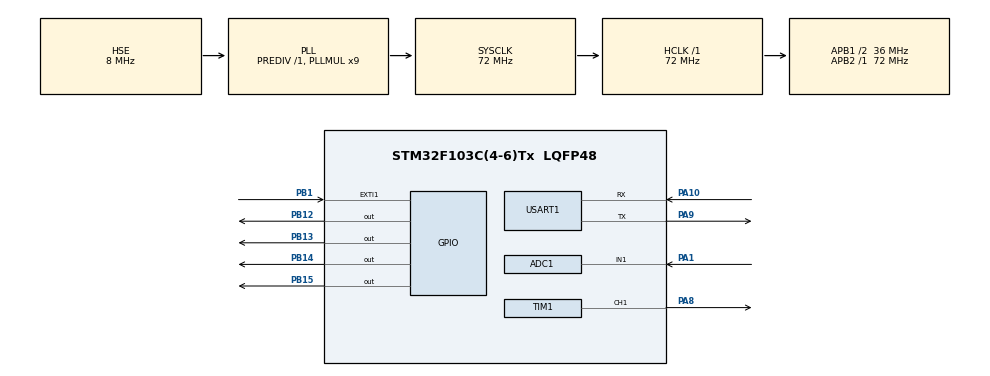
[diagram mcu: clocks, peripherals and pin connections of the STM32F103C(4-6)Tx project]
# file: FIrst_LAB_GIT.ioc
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ADC1.Channel-1\#ChannelRegularConversion=ADC_CHANNEL_1
ADC1.NbrOfConversionFlag=1
ADC1.Rank-1\#ChannelRegularConversion=1
ADC1.SamplingTime-1\#ChannelRegularConversion=ADC_SAMPLETIME_1CYCLE_5
ADC1.master=1
Dma.Request0=USART1_RX
Dma.Request1=TIM1_CH1
Dma.TIM1_CH1.1.Direction=DMA_PERIPH_TO_MEMORY
Dma.TIM1_CH1.1.Instance=DMA1_Channel2
Dma.TIM1_CH1.1.MemDataAlignment=DMA_MDATAALIGN_HALFWORD
Dma.TIM1_CH1.1.MemInc=DMA_MINC_ENABLE
Dma.TIM1_CH1.1.Mode=DMA_NORMAL
Dma.TIM1_CH1.1.PeriphDataAlignment=DMA_PDATAALIGN_HALFWORD
Dma.TIM1_CH1.1.PeriphInc=DMA_PINC_DISABLE
Dma.TIM1_CH1.1.Priority=DMA_PRIORITY_LOW
Dma.USART1_RX.0.Direction=DMA_PERIPH_TO_MEMORY
Dma.USART1_RX.0.Instance=DMA1_Channel5
Dma.USART1_RX.0.MemDataAlignment=DMA_MDATAALIGN_BYTE
Dma.USART1_RX.0.MemInc=DMA_MINC_ENABLE
Dma.USART1_RX.0.Mode=DMA_NORMAL
Dma.USART1_RX.0.PeriphDataAlignment=DMA_PDATAALIGN_BYTE
Dma.USART1_RX.0.PeriphInc=DMA_PINC_DISABLE
Dma.USART1_RX.0.Priority=DMA_PRIORITY_LOW
Mcu.Family=STM32F1
Mcu.Name=STM32F103C(4-6)Tx
Mcu.Package=LQFP48
NVIC.DMA1_Channel2_IRQn=true\:0\:0\:false\:false\:true\:false\:true\:true
NVIC.DMA1_Channel5_IRQn=true\:0\:0\:false\:false\:true\:false\:true\:true
NVIC.EXTI1_IRQn=true\:0\:0\:false\:false\:true\:true\:true\:true
NVIC.PriorityGroup=NVIC_PRIORITYGROUP_4
NVIC.RCC_IRQn=true\:0\:0\:false\:false\:true\:true\:false\:true
NVIC.TIM1_BRK_IRQn=true\:0\:0\:false\:false\:true\:true\:true\:true
NVIC.TIM1_CC_IRQn=true\:0\:0\:false\:false\:true\:true\:true\:true
NVIC.TIM1_TRG_COM_IRQn=true\:0\:0\:false\:false\:true\:true\:true\:true
NVIC.TIM1_UP_IRQn=true\:0\:0\:false\:false\:true\:true\:true\:true
NVIC.USART1_IRQn=true\:0\:0\:false\:false\:true\:true\:true\:true
PA1.Signal=ADCx_IN1
PA10.Mode=Asynchronous
PA10.Signal=USART1_RX
PA13.Mode=Serial_Wire
PA13.Signal=SYS_JTMS-SWDIO
PA14.Mode=Serial_Wire
PA14.Signal=SYS_JTCK-SWCLK
PA8.Signal=S_TIM1_CH1
PA9.Mode=Asynchronous
PA9.Signal=USART1_TX
PB1.GPIO_PuPd=GPIO_PULLDOWN
PB1.Signal=GPXTI1
PB12.Signal=GPIO_Output
PB13.Signal=GPIO_Output
PB14.Signal=GPIO_Output
PB15.Signal=GPIO_Output
PC14-OSC32_IN.Mode=LSE-External-Oscillator
PC14-OSC32_IN.Signal=RCC_OSC32_IN
PC15-OSC32_OUT.Mode=LSE-External-Oscillator
PC15-OSC32_OUT.Signal=RCC_OSC32_OUT
PD0-OSC_IN.Mode=HSE-External-Oscillator
PD0-OSC_IN.Signal=RCC_OSC_IN
PD1-OSC_OUT.Mode=HSE-External-Oscillator
PD1-OSC_OUT.Signal=RCC_OSC_OUT
ProjectManager.HeapSize=0x200
ProjectManager.StackSize=0x400
ProjectManager.TargetToolchain=STM32CubeIDE
RCC.AHBFreq_Value=72000000
RCC.APB1CLKDivider=RCC_HCLK_DIV2
RCC.APB1Freq_Value=36000000
RCC.APB1TimFreq_Value=72000000
RCC.APB2Freq_Value=72000000
RCC.APB2TimFreq_Value=72000000
RCC.HCLKFreq_Value=72000000
RCC.PLLMUL=RCC_PLL_MUL9
RCC.PLLSourceVirtual=RCC_PLLSOURCE_HSE
RCC.SYSCLKFreq_VALUE=72000000
RCC.SYSCLKSource=RCC_SYSCLKSOURCE_PLLCLK
RCC.USBFreq_Value=72000000
SH.ADCx_IN1.0=ADC1_IN1,IN1
SH.S_TIM1_CH1.0=TIM1_CH1,PWM Generation1 CH1
TIM1.Channel-PWM\ Generation1\ CH1=TIM_CHANNEL_1
USART1.VirtualMode=VM_ASYNC
board=custom

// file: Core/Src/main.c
/* USER CODE BEGIN Header */
/**
  ******************************************************************************
  * @file           : main.c
  * @brief          : Main program body
  ******************************************************************************
  * @attention
  *
  * Copyright (c) 2023 STMicroelectronics.
  * All rights reserved.
  *
  * This software is licensed under terms that can be found in the LICENSE file
  * in the root directory of this software component.
  * If no LICENSE file comes with this software, it is provided AS-IS.
  *
  ******************************************************************************
  */
/* USER CODE END Header */
#include "main.h"

/* USER CODE BEGIN Includes */
#include "stdio.h"
#include <string.h>
#include <stdlib.h>
#include <ctype.h>
/* USER CODE END Includes */

/* USER CODE BEGIN PD */
#define RxBuf_SIZE 16
#define TxBuf_SIZE 1024
#define DAC_BUFFER_SIZE 128
/* USER CODE END PD */

ADC_HandleTypeDef hadc1;

TIM_HandleTypeDef htim1;
DMA_HandleTypeDef hdma_tim1_ch1;

UART_HandleTypeDef huart1;
DMA_HandleTypeDef hdma_usart1_rx;

/* USER CODE BEGIN PV */
uint8_t TxBuf[TxBuf_SIZE];
uint8_t RxBuf[RxBuf_SIZE];

int count = 0;
int size = 0;
/* USER CODE END PV */

void SystemClock_Config(void);
static void MX_GPIO_Init(void);
static void MX_DMA_Init(void);
static void MX_USART1_UART_Init(void);
static void MX_TIM1_Init(void);
static void MX_ADC1_Init(void);

/* USER CODE BEGIN 0 */

int flag = 0;

void HAL_GPIO_EXTI_Callback(uint16_t GPIO_Pin)
{
    if (GPIO_Pin == GPIO_PIN_1)
    {
       flag++;
    }

}

void blind()
	{
	  HAL_GPIO_WritePin(GPIOB, GPIO_PIN_12, GPIO_PIN_SET);
	  HAL_GPIO_WritePin(GPIOB, GPIO_PIN_13, GPIO_PIN_SET);
	  HAL_GPIO_WritePin(GPIOB, GPIO_PIN_14, GPIO_PIN_SET);
	  HAL_GPIO_WritePin(GPIOB, GPIO_PIN_15, GPIO_PIN_SET);
	}

void addle()
	{
	  HAL_GPIO_WritePin(GPIOB, GPIO_PIN_12, GPIO_PIN_RESET);
	  HAL_GPIO_WritePin(GPIOB, GPIO_PIN_13, GPIO_PIN_RESET);
	  HAL_GPIO_WritePin(GPIOB, GPIO_PIN_14, GPIO_PIN_RESET);
	  HAL_GPIO_WritePin(GPIOB, GPIO_PIN_15, GPIO_PIN_RESET);
	}

void state_1()
	{
	  blind();
	  HAL_Delay(1000);
	  addle();
	  HAL_Delay(1000);
	}
void state_2()
	{
	blind();
	HAL_Delay(500);
	addle();
	HAL_Delay(500);
	}

int isCorrectFrequency(int frequency) {
	if(frequency >= 100 && frequency<= 9900)
	{
		return 1;
	}
	return 0;
}

void calculateFrequency(int freq){
	int frequency_counter = 72000000 / (72 * freq);
	TIM1->ARR = frequency_counter;
}

void setFrequency(char *strRx, char *strTx){
	char* numberFromString = strpbrk(strRx, "0123456789");
	if(numberFromString != NULL) {
		int frequency = atoi(numberFromString);
			if(isCorrectFrequency(frequency)) {
				calculateFrequency(frequency);
			}
		 else {
				strcat(strTx, "\r\nIncorrect number. Choose frequency from 100 to 9900Ghz\r\n");

			}

	} else {
		 strcat(strTx, "\r\nIncorrect input.\r\n");
	}
}

void inputStringCompare(char *strRx, char *strTx){

	for (int i = 0; i < strlen(strRx); i++) {
		strRx[i] = tolower(strRx[i]);
	    }
	setFrequency(strRx, strTx);
	if(strstr(strRx,"sin") != NULL){
		//sin();
		strcat(strTx, "\r\n Sin function is was run\r\n");
	} else if(strstr(strRx,"ramp") != NULL){
		//ramp();
		strcat(strTx, "\r\n Ramp function is was run\r\n");
	}
	else if(strstr(strRx,"stop") != NULL){
			//stop();
		strcat(strTx, "\r\n STOP\r\n");
		}
	else {
		strcat(strTx, "\r\nUnknown command. Try again.\r\nAvailable only: 'sin', 'ramp', 'stop'.\r\n");
	}
}

void HAL_UARTEx_RxEventCallback(UART_HandleTypeDef *huart, uint16_t Size)
{
	if (huart->Instance == USART1) {
		inputStringCompare((char*)RxBuf,(char*)TxBuf);
		HAL_UARTEx_ReceiveToIdle_DMA(&huart1, (uint8_t *) RxBuf, RxBuf_SIZE);
		__HAL_DMA_DISABLE_IT(&hdma_usart1_rx, DMA_IT_HT);
	}
}

void UART_TX_Triger(char *strTx) {
	if(strlen(strTx) != 0) {
		HAL_UART_Transmit_DMA(&huart1, (uint8_t*) strTx, strlen(strTx));
	}
}

void HAL_UART_TxCpltCallback(UART_HandleTypeDef *huart)
{
	if (huart->Instance == USART1) {
		if(HAL_UART_GetState (&huart1) != HAL_UART_STATE_BUSY_TX) {
			memset (TxBuf, 0, TxBuf_SIZE);
		}
	}
}
//void sin()
//{
//	float pointsPerCycle = DAC_BUFFER_SIZE / frequency;
//	 for (int i = 0; i < DAC_BUFFER_SIZE; ++i) {
//	        sinWave[i] = (uint32_t)(2047 * sin(2 * M_PI * i / pointsPerCycle) + 2047);
//	    }
//	 HAL_DAC_Start(&hdac, DAC_CHANNEL_1);
//	 HAL_DAC_SetValue(&hdac, DAC_CHANNEL_1, DAC_ALIGN_12B_R, 0);
//	 HAL_DACEx_DualSetValue(&hdac, DAC_ALIGN_12B_R, sinWave, DAC_BUFFER_SIZE);
//	 HAL_Delay(1000 / frequency);
//}
//void ramp()
//{
//	float increment = 4095.0 / (DAC_BUFFER_SIZE / frequency);
//	for (int i = 0; i < DAC_BUFFER_SIZE; ++i) {
//	        sinWave[i] = (uint32_t)(i * increment);
//	    }
//	 HAL_DAC_Start(&hdac, DAC_CHANNEL_1);
//	 HAL_DAC_SetValue(&hdac, DAC_CHANNEL_1, DAC_ALIGN_12B_R, 0);
//	 HAL_DACEx_DualSetValue(&hdac, DAC_ALIGN_12B_R, sinWave, DAC_BUFFER_SIZE);
//	 HAL_Delay(1000 / frequency);
//
//}
//void stop()
//{
//	 HAL_DAC_Stop(&hdac, DAC_CHANNEL_1);
//}

/* USER CODE END 0 */

int main(void)
{
  /* USER CODE BEGIN 1 */
//int button_state = HAL_GPIO_ReadPin(GPIOB, GPIO_PIN_1);
  /* USER CODE END 1 */

  /* MCU Configuration--------------------------------------------------------*/

  /* Reset of all peripherals, Initializes the Flash interface and the Systick. */
  HAL_Init();

  /* Configure the system clock */
  SystemClock_Config();

  /* Initialize all configured peripherals */
  MX_GPIO_Init();
  MX_DMA_Init();
  MX_USART1_UART_Init();
  MX_TIM1_Init();
  MX_ADC1_Init();
  /* USER CODE BEGIN 2 */
  HAL_UARTEx_ReceiveToIdle_DMA(&huart1, (uint8_t *) RxBuf, RxBuf_SIZE);
__HAL_DMA_DISABLE_IT(&hdma_usart1_rx, DMA_IT_HT);
  /* USER CODE END 2 */

  /* Infinite loop */
  /* USER CODE BEGIN WHILE */
  while (1)
  {
	  if (flag == 1)
	  {
	  state_1();
	  }
	  else if (flag == 2)
	  {
	  state_2();
	  }
	  else if (flag >= 3)
	  	  {
	  	  flag = 1;
	  	  }

  }

    /* USER CODE END WHILE */

    /* USER CODE BEGIN 3 */
  UART_TX_Triger((char*)TxBuf);
  /* USER CODE END 3 */
}

void SystemClock_Config(void)
{
  RCC_OscInitTypeDef RCC_OscInitStruct = {0};
  RCC_ClkInitTypeDef RCC_ClkInitStruct = {0};
  RCC_PeriphCLKInitTypeDef PeriphClkInit = {0};

  /** Initializes the RCC Oscillators according to the specified parameters
  * in the RCC_OscInitTypeDef structure.
  */
  RCC_OscInitStruct.OscillatorType = RCC_OSCILLATORTYPE_HSE;
  RCC_OscInitStruct.HSEState = RCC_HSE_ON;
  RCC_OscInitStruct.HSEPredivValue = RCC_HSE_PREDIV_DIV1;
  RCC_OscInitStruct.HSIState = RCC_HSI_ON;
  RCC_OscInitStruct.PLL.PLLState = RCC_PLL_ON;
  RCC_OscInitStruct.PLL.PLLSource = RCC_PLLSOURCE_HSE;
  RCC_OscInitStruct.PLL.PLLMUL = RCC_PLL_MUL9;
  if (HAL_RCC_OscConfig(&RCC_OscInitStruct) != HAL_OK)
  {
    Error_Handler();
  }

  /** Initializes the CPU, AHB and APB buses clocks
  */
  RCC_ClkInitStruct.ClockType = RCC_CLOCKTYPE_HCLK|RCC_CLOCKTYPE_SYSCLK
                              |RCC_CLOCKTYPE_PCLK1|RCC_CLOCKTYPE_PCLK2;
  RCC_ClkInitStruct.SYSCLKSource = RCC_SYSCLKSOURCE_PLLCLK;
  RCC_ClkInitStruct.AHBCLKDivider = RCC_SYSCLK_DIV1;
  RCC_ClkInitStruct.APB1CLKDivider = RCC_HCLK_DIV2;
  RCC_ClkInitStruct.APB2CLKDivider = RCC_HCLK_DIV1;

  if (HAL_RCC_ClockConfig(&RCC_ClkInitStruct, FLASH_LATENCY_2) != HAL_OK)
  {
    Error_Handler();
  }
  PeriphClkInit.PeriphClockSelection = RCC_PERIPHCLK_ADC;
  PeriphClkInit.AdcClockSelection = RCC_ADCPCLK2_DIV2;
  if (HAL_RCCEx_PeriphCLKConfig(&PeriphClkInit) != HAL_OK)
  {
    Error_Handler();
  }
}

static void MX_ADC1_Init(void)
{

  ADC_ChannelConfTypeDef sConfig = {0};

  /** Common config
  */
  hadc1.Instance = ADC1;
  hadc1.Init.ScanConvMode = ADC_SCAN_DISABLE;
  hadc1.Init.ContinuousConvMode = DISABLE;
  hadc1.Init.DiscontinuousConvMode = DISABLE;
  hadc1.Init.ExternalTrigConv = ADC_SOFTWARE_START;
  hadc1.Init.DataAlign = ADC_DATAALIGN_RIGHT;
  hadc1.Init.NbrOfConversion = 1;
  if (HAL_ADC_Init(&hadc1) != HAL_OK)
  {
    Error_Handler();
  }

  /** Configure Regular Channel
  */
  sConfig.Channel = ADC_CHANNEL_1;
  sConfig.Rank = ADC_REGULAR_RANK_1;
  sConfig.SamplingTime = ADC_SAMPLETIME_1CYCLE_5;
  if (HAL_ADC_ConfigChannel(&hadc1, &sConfig) != HAL_OK)
  {
    Error_Handler();
  }

}

static void MX_TIM1_Init(void)
{

  TIM_MasterConfigTypeDef sMasterConfig = {0};
  TIM_OC_InitTypeDef sConfigOC = {0};
  TIM_BreakDeadTimeConfigTypeDef sBreakDeadTimeConfig = {0};

  htim1.Instance = TIM1;
  htim1.Init.Prescaler = 0;
  htim1.Init.CounterMode = TIM_COUNTERMODE_UP;
  htim1.Init.Period = 65535;
  htim1.Init.ClockDivision = TIM_CLOCKDIVISION_DIV1;
  htim1.Init.RepetitionCounter = 0;
  htim1.Init.AutoReloadPreload = TIM_AUTORELOAD_PRELOAD_DISABLE;
  if (HAL_TIM_PWM_Init(&htim1) != HAL_OK)
  {
    Error_Handler();
  }
  sMasterConfig.MasterOutputTrigger = TIM_TRGO_RESET;
  sMasterConfig.MasterSlaveMode = TIM_MASTERSLAVEMODE_DISABLE;
  if (HAL_TIMEx_MasterConfigSynchronization(&htim1, &sMasterConfig) != HAL_OK)
  {
    Error_Handler();
  }
  sConfigOC.OCMode = TIM_OCMODE_PWM1;
  sConfigOC.Pulse = 0;
  sConfigOC.OCPolarity = TIM_OCPOLARITY_HIGH;
  sConfigOC.OCNPolarity = TIM_OCNPOLARITY_HIGH;
  sConfigOC.OCFastMode = TIM_OCFAST_DISABLE;
  sConfigOC.OCIdleState = TIM_OCIDLESTATE_RESET;
  sConfigOC.OCNIdleState = TIM_OCNIDLESTATE_RESET;
  if (HAL_TIM_PWM_ConfigChannel(&htim1, &sConfigOC, TIM_CHANNEL_1) != HAL_OK)
  {
    Error_Handler();
  }
  sBreakDeadTimeConfig.OffStateRunMode = TIM_OSSR_DISABLE;
  sBreakDeadTimeConfig.OffStateIDLEMode = TIM_OSSI_DISABLE;
  sBreakDeadTimeConfig.LockLevel = TIM_LOCKLEVEL_OFF;
  sBreakDeadTimeConfig.DeadTime = 0;
  sBreakDeadTimeConfig.BreakState = TIM_BREAK_DISABLE;
  sBreakDeadTimeConfig.BreakPolarity = TIM_BREAKPOLARITY_HIGH;
  sBreakDeadTimeConfig.AutomaticOutput = TIM_AUTOMATICOUTPUT_DISABLE;
  if (HAL_TIMEx_ConfigBreakDeadTime(&htim1, &sBreakDeadTimeConfig) != HAL_OK)
  {
    Error_Handler();
  }
  HAL_TIM_MspPostInit(&htim1);

}

static void MX_USART1_UART_Init(void)
{

  huart1.Instance = USART1;
  huart1.Init.BaudRate = 115200;
  huart1.Init.WordLength = UART_WORDLENGTH_8B;
  huart1.Init.StopBits = UART_STOPBITS_1;
  huart1.Init.Parity = UART_PARITY_NONE;
  huart1.Init.Mode = UART_MODE_TX_RX;
  huart1.Init.HwFlowCtl = UART_HWCONTROL_NONE;
  huart1.Init.OverSampling = UART_OVERSAMPLING_16;
  if (HAL_UART_Init(&huart1) != HAL_OK)
  {
    Error_Handler();
  }

}

static void MX_DMA_Init(void)
{

  /* DMA controller clock enable */
  __HAL_RCC_DMA1_CLK_ENABLE();

  /* DMA interrupt init */
  /* DMA1_Channel2_IRQn interrupt configuration */
  HAL_NVIC_SetPriority(DMA1_Channel2_IRQn, 0, 0);
  HAL_NVIC_EnableIRQ(DMA1_Channel2_IRQn);
  /* DMA1_Channel5_IRQn interrupt configuration */
  HAL_NVIC_SetPriority(DMA1_Channel5_IRQn, 0, 0);
  HAL_NVIC_EnableIRQ(DMA1_Channel5_IRQn);

}

static void MX_GPIO_Init(void)
{
  GPIO_InitTypeDef GPIO_InitStruct = {0};

  /* GPIO Ports Clock Enable */
  __HAL_RCC_GPIOC_CLK_ENABLE();
  __HAL_RCC_GPIOD_CLK_ENABLE();
  __HAL_RCC_GPIOA_CLK_ENABLE();
  __HAL_RCC_GPIOB_CLK_ENABLE();

  /*Configure GPIO pin Output Level */
  HAL_GPIO_WritePin(GPIOB, GPIO_PIN_12|GPIO_PIN_13|GPIO_PIN_14|GPIO_PIN_15, GPIO_PIN_RESET);

  /*Configure GPIO pin : PB1 */
  GPIO_InitStruct.Pin = GPIO_PIN_1;
  GPIO_InitStruct.Mode = GPIO_MODE_IT_RISING;
  GPIO_InitStruct.Pull = GPIO_PULLDOWN;
  HAL_GPIO_Init(GPIOB, &GPIO_InitStruct);

  /*Configure GPIO pins : PB12 PB13 PB14 PB15 */
  GPIO_InitStruct.Pin = GPIO_PIN_12|GPIO_PIN_13|GPIO_PIN_14|GPIO_PIN_15;
  GPIO_InitStruct.Mode = GPIO_MODE_OUTPUT_PP;
  GPIO_InitStruct.Pull = GPIO_NOPULL;
  GPIO_InitStruct.Speed = GPIO_SPEED_FREQ_LOW;
  HAL_GPIO_Init(GPIOB, &GPIO_InitStruct);

  /* EXTI interrupt init*/
  HAL_NVIC_SetPriority(EXTI1_IRQn, 0, 0);
  HAL_NVIC_EnableIRQ(EXTI1_IRQn);

}

void Error_Handler(void)
{
  __disable_irq();
  while (1)
  {
  }
}
